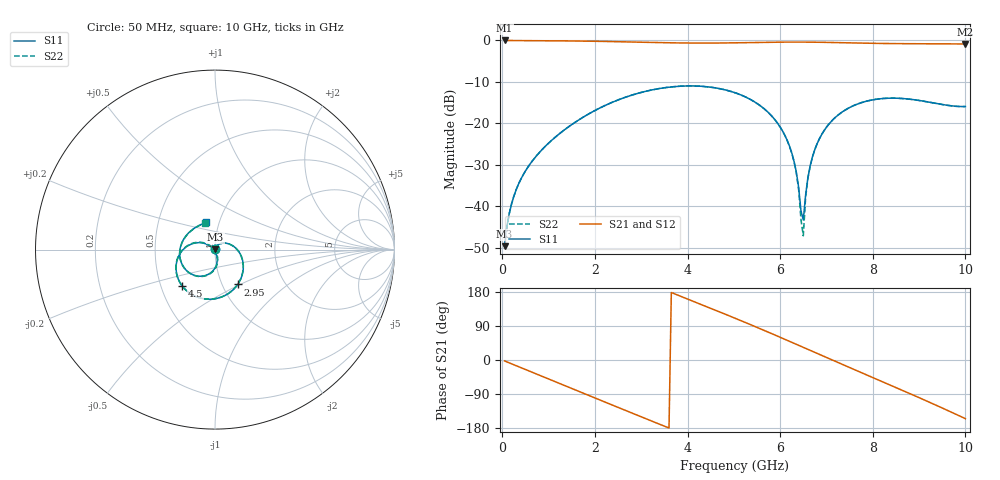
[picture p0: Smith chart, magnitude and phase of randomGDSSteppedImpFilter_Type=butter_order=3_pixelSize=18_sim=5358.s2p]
! freq	dB(S11)	phase(S11)	dB(S12)	phase(S12)
!  dB(S21)	phase(S21)	dB(S22)	phase(S22)
!S-par simulation data
#  GHz  S  DB  R 50
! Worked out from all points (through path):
!   200 points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, 50 MHz to 10 GHz, reference 50 ohm
!   highest |S21| = -0.02 dB at 50 MHz (marker M1); lowest = -0.9 dB at 10 GHz (marker M2)
!   group delay of S21, straight-line fit = 142 ps
!   lowest |S11| = -49.6 dB at 50 MHz (marker M3), VSWR 1.01, Z = 50.2 + j0.234 ohm
!   |S11| at or under -10 dB: start of sweep to end of sweep
!   |S22| runs from -49.6 to -11.0 dB; largest |S21 - S12| = 0
!   S11 on the Smith chart (normalised r, x): 50 MHz: 1.00, +0.00; 2.95 GHz: 1.18, -0.49; 4.5 GHz: 0.64, -0.28; 10 GHz: 0.87, +0.27
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0.05  -49.64 45.0  -0.02 -2.5  -0.02 -2.5  -49.64 45.0
0.2  -39.45 65.4  -0.04 -10.0  -0.04 -10.0  -39.45 65.4
0.5  -31.50 60.1  -0.06 -25.0  -0.06 -25.0  -31.50 60.0
1.15  -23.29 31.7  -0.10 -57.5  -0.10 -57.5  -23.29 31.4
1.75  -18.49 2.6  -0.17 -87.6  -0.17 -87.6  -18.50 2.2
2.3  -15.29 -24.7  -0.27 -115.1  -0.27 -115.1  -15.29 -25.1
2.95  -12.70 -56.9  -0.43 -147.5  -0.43 -147.5  -12.70 -57.3
3.4  -11.60 -79.0  -0.54 -169.7  -0.54 -169.7  -11.60 -79.4
3.95  -11.00 -105.6  -0.63 163.4  -0.63 163.4  -11.00 -106.1
4.5  -11.29 -132.2  -0.65 136.4  -0.65 136.4  -11.29 -132.7
5.05  -12.72 -159.0  -0.58 109.1  -0.58 109.1  -12.73 -159.7
5.6  -16.00 173.9  -0.48 81.0  -0.48 81.0  -16.01 172.9
6.1  -22.86 150.5  -0.41 54.7  -0.41 54.7  -22.89 148.2
6.35  -31.82 146.1  -0.41 41.4  -0.41 41.4  -32.04 139.4
6.5  -43.32 -119.0  -0.41 33.4  -0.41 33.4  -47.13 -99.9
6.55  -37.27 -84.3  -0.41 30.7  -0.41 30.7  -37.89 -71.7
6.7  -27.99 -74.9  -0.43 22.7  -0.43 22.7  -28.05 -70.4
6.95  -21.74 -83.7  -0.47 9.3  -0.47 9.3  -21.74 -81.5
7.3  -17.58 -100.7  -0.55 -9.4  -0.55 -9.4  -17.58 -99.3
8.35  -13.94 -155.6  -0.76 -64.7  -0.76 -64.7  -13.94 -154.5
9.15  -14.77 159.8  -0.81 -107.4  -0.81 -107.4  -14.77 161.2
10  -15.96 108.5  -0.86 -154.8  -0.86 -154.8  -15.98 110.4
